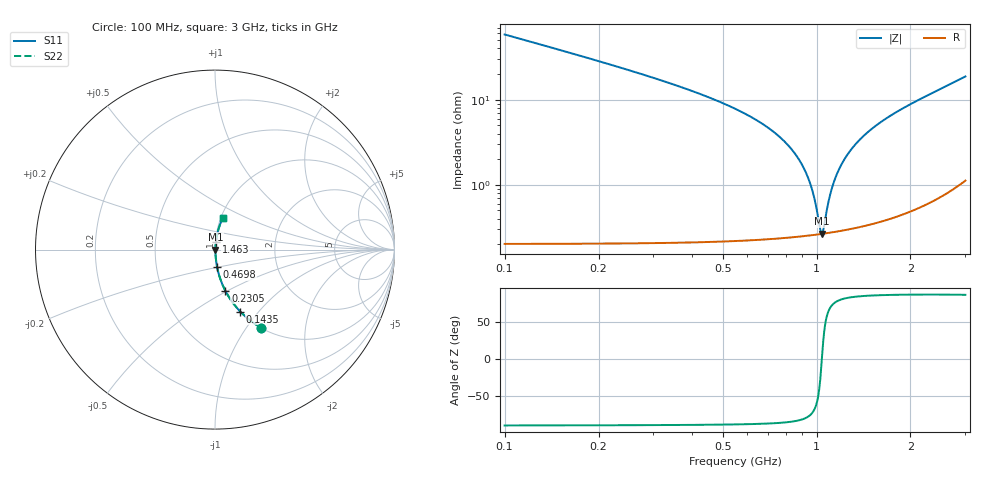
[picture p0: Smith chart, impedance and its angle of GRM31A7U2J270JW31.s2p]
!Murata Part Number: GRM31A7U2J270JW31
!These Parameters are Measured in Series Mode Connection
!Data Generated on Mar 30, 2021
!  o--ll--o
!Port1  Port2
!  o------o
!Operation Temp=25[degC], DC Bias Voltage=0[V]
!Freq. Start=100[MHz] Stop=3[GHz] 401[Steps]
# Hz S RI R 50
!Freq.(Hz) S11(Real) S11(Imag) S21(Real) S21(Imag) S12(Real) S12(Imag) S22(Real) S22(Imag)
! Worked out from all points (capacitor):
!   401 points, 100 MHz to 3 GHz, reference 50 ohm
!   read as one part in series: C = 27 pF near 114.5 MHz
!   lowest |Z| = 266 mohm at 1.042 GHz (marker M1)
!   series resonance near 1.04 GHz, so ESL is about 870 pH
!   S11 on the Smith chart (normalised r, x): 100 MHz: 1.00, -1.17; 143.5 MHz: 1.00, -0.81; 230.5 MHz: 1.00, -0.49; 469.8 MHz: 1.00, -0.20; 1.463 GHz: 1.01, +0.08; 3 GHz: 1.02, +0.37
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1e8  0.2552 -0.4342  0.7448 0.4342  0.7448 0.4342  0.2552 -0.4342
1.435e8  0.1411 -0.3456  0.8589 0.3456  0.8589 0.3456  0.1411 -0.3456
2.305e8  0.0577 -0.229  0.9423 0.229  0.9423 0.229  0.0577 -0.229
4.6975e8  0.012 -0.099  0.988 0.099  0.988 0.099  0.012 -0.099
5.8575e8  0.00694 -0.0687  0.9931 0.0687  0.9931 0.0687  0.00694 -0.0687
7.67e8  0.00359 -0.0354  0.9964 0.0354  0.9964 0.0354  0.00359 -0.0354
8.83e8  0.00281 -0.0189  0.9972 0.0189  0.9972 0.0189  0.00281 -0.0189
9.555e8  0.00263 -0.00979  0.9974 0.00979  0.9974 0.00979  0.00263 -0.00979
9.845e8  0.00261 -0.00634  0.9974 0.00634  0.9974 0.00634  0.00261 -0.00634
1.028e9  0.00262 -0.00134  0.9974 0.00134  0.9974 0.00134  0.00262 -0.00134
1.0425e9  0.00264 0.000278  0.9974 -0.000278  0.9974 -0.000278  0.00264 0.000278
1.057e9  0.00266 0.00188  0.9973 -0.00188  0.9973 -0.00188  0.00266 0.00188
1.0715e9  0.00269 0.00346  0.9973 -0.00346  0.9973 -0.00346  0.00269 0.00346
1.09325e9  0.00274 0.0058  0.9973 -0.0058  0.9973 -0.0058  0.00274 0.0058
1.12225e9  0.00283 0.00886  0.9972 -0.00886  0.9972 -0.00886  0.00283 0.00886
1.202e9  0.00315 0.017  0.9968 -0.017  0.9968 -0.017  0.00315 0.017
1.31075e9  0.0038 0.0275  0.9962 -0.0275  0.9962 -0.0275  0.0038 0.0275
1.463e9  0.00505 0.0413  0.9949 -0.0413  0.9949 -0.0413  0.00505 0.0413
1.55e9  0.00593 0.0489  0.9941 -0.0489  0.9941 -0.0489  0.00593 0.0489
2.03575e9  0.0131 0.0899  0.9869 -0.0899  0.9869 -0.0899  0.0131 0.0899
2.5215e9  0.025 0.1316  0.975 -0.1316  0.975 -0.1316  0.025 0.1316
3e9  0.0438 0.1769  0.9562 -0.1769  0.9562 -0.1769  0.0438 0.1769
